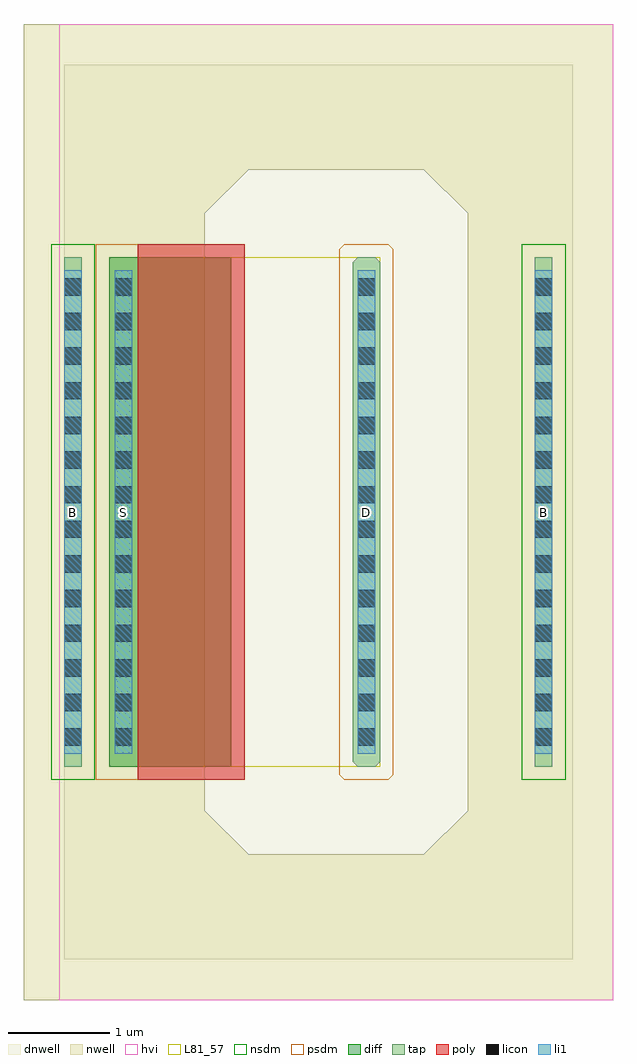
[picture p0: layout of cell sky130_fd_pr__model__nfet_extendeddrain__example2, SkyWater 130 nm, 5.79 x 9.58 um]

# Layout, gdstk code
import gdstk
lib = gdstk.Library(unit=1e-6, precision=1e-09)
def R(c, l, rs):  # rectangles x0, y0, x1, y1
    for r in rs: c.add(gdstk.rectangle(r[:2], r[2:], *l))
def A(c, l, x, y, w, h, nx, ny, dx, dy):  # array of equal rectangles
    R(c, l, [(x+i*dx, y+j*dy, x+i*dx+w, y+j*dy+h) for i in range(nx) for j in range(ny)])
def P(c, l, *ps):  # polygons
    for p in ps: c.add(gdstk.Polygon(p, *l))
dnwell = (64, 18)
nwell = (64, 20)
diff = (65, 20)
tap = (65, 44)
poly = (66, 20)
licon = (66, 44)
li1 = (67, 20)
hvi = (75, 20)
L81_57 = (81, 57)
nsdm = (93, 44)
psdm = (94, 20)

sky130_fd_pr__model__nfe = lib.new_cell('sky130_fd_pr__model__nfet_extendeddrain__example2')
R(sky130_fd_pr__model__nfe, dnwell, [(-0.72,-1.76,-0.28,7.02), (-0.37,-1.76,-0.28,7.02), (-0.28,-1.76,4.27,7.02), (2.56,-1.76,4.25,7.02)])
R(sky130_fd_pr__model__nfe, nwell, [(-1.12,-2.16,-0.5,7.42), (-0.77,-2.16,-0.28,7.42), (3.24,-2.16,4.67,7.42), (4.3,-2.16,4.65,7.42)])
P(sky130_fd_pr__model__nfe, nwell, [(-0.28,7.42),(4.3,7.42),(4.3,-2.16),(-0.28,-2.16),(-0.28,-0.3),(0.66,-0.3),(1.09,-0.73),(2.81,-0.73),(3.24,-0.3),(3.24,5.56),(2.81,5.99),(1.09,5.99),(0.66,5.56),(0.66,-0.3),(-0.28,-0.3)])
R(sky130_fd_pr__model__nfe, diff, [(-0.28,0.13,0.92,5.13)])
R(sky130_fd_pr__model__nfe, tap, [(-0.72,0.13,-0.55,5.13), (3.9,0.13,4.07,5.13)])
P(sky130_fd_pr__model__nfe, tap, [(2.16,0.13),(2.33,0.13),(2.38,0.18),(2.38,5.08),(2.33,5.13),(2.16,5.13),(2.11,5.08),(2.11,0.18)])
R(sky130_fd_pr__model__nfe, poly, [(0,0,1.05,5.26)])
A(sky130_fd_pr__model__nfe, licon, -0.72, 0.335, 0.17, 0.17, 1, 14, 0, 0.34)
A(sky130_fd_pr__model__nfe, licon, -0.225, 0.335, 0.17, 0.17, 1, 14, 0, 0.34)
A(sky130_fd_pr__model__nfe, licon, 2.16, 0.335, 0.17, 0.17, 1, 14, 0, 0.34)
A(sky130_fd_pr__model__nfe, licon, 3.9, 0.335, 0.17, 0.17, 1, 14, 0, 0.34)
R(sky130_fd_pr__model__nfe, li1, [(-0.72,0.255,-0.55,5.005), (-0.225,0.255,-0.055,5.005), (2.16,0.255,2.33,5.005), (3.9,0.255,4.07,5.005)])
R(sky130_fd_pr__model__nfe, hvi, [(-0.77,-2.16,4.67,7.42)])
R(sky130_fd_pr__model__nfe, L81_57, [(-0.28,0.13,2.38,5.13)])
R(sky130_fd_pr__model__nfe, nsdm, [(-0.85,0,-0.42,5.26), (3.77,0,4.2,5.26)])
R(sky130_fd_pr__model__nfe, psdm, [(-0.41,0,1.05,5.26)])
P(sky130_fd_pr__model__nfe, psdm, [(2.03,0),(2.46,0),(2.51,0.05),(2.51,5.21),(2.46,5.26),(2.03,5.26),(1.98,5.21),(1.98,0.05)])
sky130_fd_pr__model__nfe.add(gdstk.Label('B', (3.985,2.63), layer=83, texttype=44))
sky130_fd_pr__model__nfe.add(gdstk.Label('B', (-0.635,2.63), layer=83, texttype=44))
sky130_fd_pr__model__nfe.add(gdstk.Label('D', (2.245,2.63), layer=83, texttype=44))
sky130_fd_pr__model__nfe.add(gdstk.Label('S', (-0.14,2.63), layer=83, texttype=44))

lib.write_gds('sky130_fd_pr__model__nfet_extendeddrain__example2.gds')
